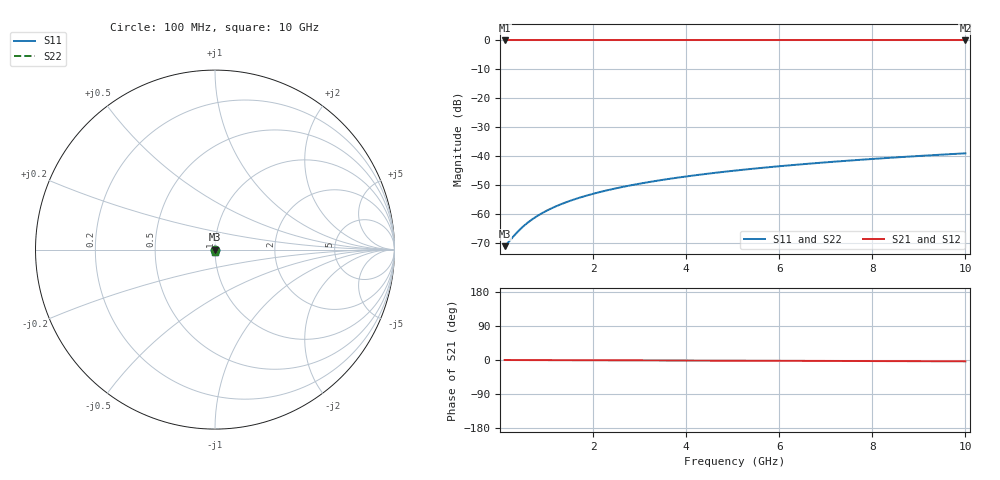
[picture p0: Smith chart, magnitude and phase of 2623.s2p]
# Hz S RI R 50.00
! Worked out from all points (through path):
!   100 points, 100 MHz to 10 GHz, reference 50 ohm
!   highest |S21| = 0.00 dB at 100 MHz (marker M1); lowest = 0.0 dB at 10 GHz (marker M2)
!   lowest |S11| = -71.0 dB at 100 MHz (marker M3), VSWR 1.00, Z = 50 - j0.0112 ohm
!   |S11| at or under -10 dB: start of sweep to end of sweep
!   |S22| runs from -71.0 to -39.0 dB; largest |S21 - S12| = 0
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1e8  0.000258 -0.000112  0.9997 -0.000608  0.9997 -0.000608  0.000258 -0.000112
2e8  0.00026 -0.000224  0.9997 -0.00122  0.9997 -0.00122  0.00026 -0.000224
3e8  0.00026 -0.000336  0.9997 -0.00182  0.9997 -0.00182  0.00026 -0.000336
4e8  0.00026 -0.000448  0.9997 -0.00243  0.9997 -0.00243  0.00026 -0.000448
5e8  0.00026 -0.00056  0.9997 -0.00304  0.9997 -0.00304  0.00026 -0.00056
6e8  0.00026 -0.000672  0.9997 -0.00365  0.9997 -0.00365  0.00026 -0.000672
7e8  0.00026 -0.000784  0.9997 -0.00425  0.9997 -0.00425  0.00026 -0.000784
8e8  0.000259 -0.000896  0.9997 -0.00486  0.9997 -0.00486  0.000259 -0.000896
1e9  0.000257 -0.00112  0.9997 -0.00608  0.9997 -0.00608  0.000257 -0.00112
1.2e9  0.000254 -0.00134  0.9997 -0.00729  0.9997 -0.00729  0.000254 -0.00134
1.5e9  0.000249 -0.00168  0.9997 -0.00912  0.9997 -0.00912  0.000249 -0.00168
1.8e9  0.000243 -0.00202  0.9997 -0.0109  0.9997 -0.0109  0.000243 -0.00202
2.1e9  0.000235 -0.00235  0.9996 -0.0128  0.9996 -0.0128  0.000235 -0.00235
2.5e9  0.000223 -0.0028  0.9996 -0.0152  0.9996 -0.0152  0.000223 -0.0028
2.9e9  0.000208 -0.00325  0.9996 -0.0176  0.9996 -0.0176  0.000208 -0.00325
3.4e9  0.000186 -0.00382  0.9995 -0.0207  0.9995 -0.0207  0.000186 -0.00382
4.2e9  0.000145 -0.00472  0.9994 -0.0255  0.9994 -0.0255  0.000145 -0.00472
5.1e9  8.71e-05 -0.00573  0.9992 -0.031  0.9992 -0.031  8.71e-05 -0.00573
5.9e9  2.65e-05 -0.00663  0.999 -0.0359  0.999 -0.0359  2.65e-05 -0.00663
6.7e9  -4.31e-05 -0.00754  0.9988 -0.0408  0.9988 -0.0408  -4.31e-05 -0.00754
8.4e9  -0.000221 -0.00946  0.9983 -0.0512  0.9983 -0.0512  -0.000221 -0.00946
1e10  -0.000425 -0.0113  0.9977 -0.061  0.9977 -0.061  -0.000425 -0.0113
